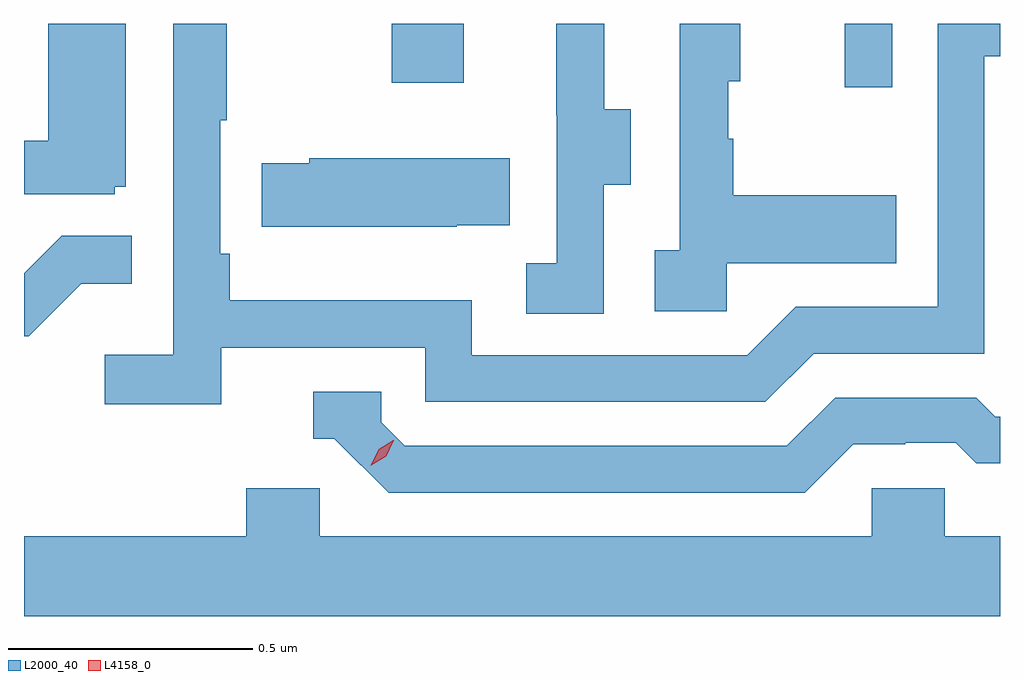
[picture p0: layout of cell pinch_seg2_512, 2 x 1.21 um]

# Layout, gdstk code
import gdstk
lib = gdstk.Library(unit=1e-6, precision=1e-09)
def R(c, l, rs):  # rectangles x0, y0, x1, y1
    for r in rs: c.add(gdstk.rectangle(r[:2], r[2:], *l))
def P(c, l, *ps):  # polygons
    for p in ps: c.add(gdstk.Polygon(p, *l))
L2000_40 = (2000, 40)
L4158_0 = (4158, 0)

pinch_seg2_512 = lib.new_cell('pinch_seg2_512')
R(pinch_seg2_512, L2000_40, [(966.398,592.776,966.495,592.906), (965.47,592.785,965.617,592.906)])
P(pinch_seg2_512, L2000_40, [(964.902,592.572),(964.924,592.572),(964.924,592.906),(964.766,592.906),(964.766,592.666),(964.716,592.666),(964.716,592.557),(964.902,592.557)],
  [(965.12,592.242),(965.538,592.242),(965.538,592.131),(966.235,592.131),(966.334,592.23),(966.684,592.23),(966.684,592.839),(966.716,592.839),(966.716,592.906),(966.588,592.906),(966.588,592.326),(966.297,592.326),(966.198,592.227),(965.634,592.227),(965.634,592.339),(965.138,592.339),(965.138,592.435),(965.118,592.435),(965.118,592.708),(965.131,592.708),(965.131,592.906),(965.022,592.906),(965.022,592.228),(964.881,592.228),(964.881,592.126),(965.12,592.126)],
  [(965.904,592.576),(965.959,592.576),(965.959,592.731),(965.905,592.731),(965.905,592.906),(965.807,592.906),(965.807,592.719),(965.808,592.719),(965.808,592.415),(965.745,592.415),(965.745,592.312),(965.904,592.312)],
  [(966.156,592.415),(966.503,592.415),(966.503,592.555),(966.169,592.555),(966.169,592.67),(966.159,592.67),(966.159,592.788),(966.184,592.788),(966.184,592.906),(966.06,592.906),(966.06,592.442),(966.009,592.442),(966.009,592.317),(966.156,592.317)],
  [(965.603,592.493),(965.711,592.493),(965.711,592.63),(965.301,592.63),(965.301,592.62),(965.203,592.62),(965.203,592.49),(965.603,592.49)],
  [(964.833,592.373),(964.937,592.373),(964.937,592.472),(964.793,592.472),(964.716,592.395),(964.716,592.266),(964.726,592.266)],
  [(966.415,592.044),(966.522,592.044),(966.522,592.047),(966.625,592.047),(966.667,592.005),(966.716,592.005),(966.716,592.101),(966.706,592.101),(966.667,592.14),(966.378,592.14),(966.279,592.041),(965.496,592.041),(965.448,592.089),(965.448,592.152),(965.309,592.152),(965.309,592.056),(965.352,592.056),(965.463,591.945),(966.316,591.945)],
  [(966.716,591.856),(966.603,591.856),(966.603,591.954),(966.453,591.954),(966.453,591.856),(965.322,591.856),(965.322,591.954),(965.171,591.954),(965.171,591.856),(964.716,591.856),(964.716,591.692),(966.716,591.692)])
P(pinch_seg2_512, L4158_0, [(965.427,592.001),(965.427,592.001),(965.443,592.034),(965.473,592.053),(965.474,592.053),(965.474,592.053),(965.458,592.02),(965.428,592.001)])

lib.write_gds('pinch_seg2_512.gds')
